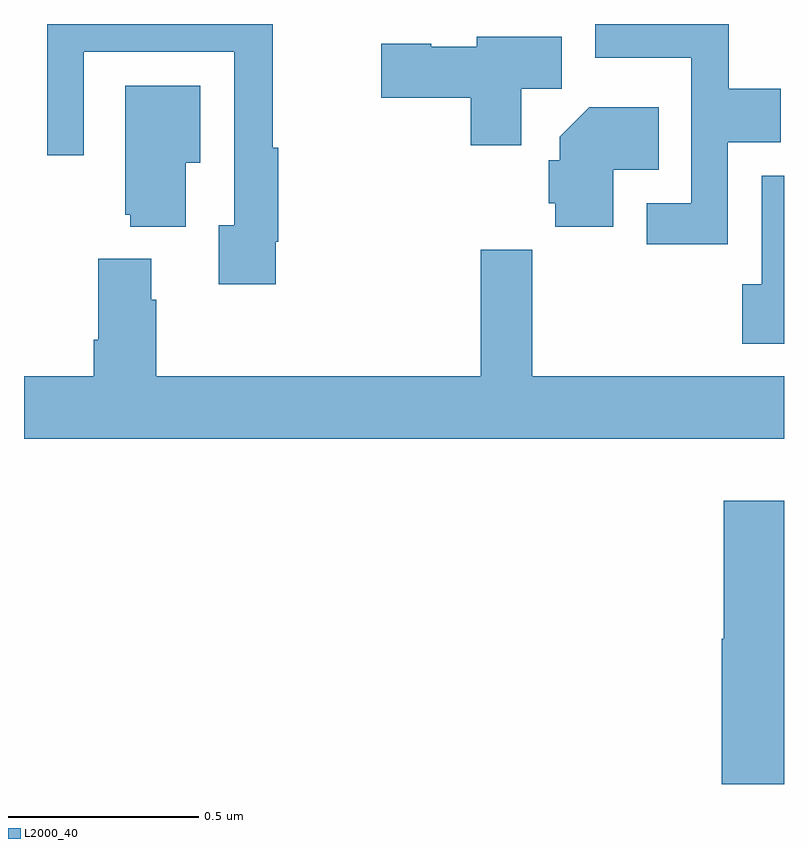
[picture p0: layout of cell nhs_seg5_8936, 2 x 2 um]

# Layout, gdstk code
import gdstk
lib = gdstk.Library(unit=1e-6, precision=1e-09)
def P(c, l, *ps):  # polygons
    for p in ps: c.add(gdstk.Polygon(p, *l))
L2000_40 = (2000, 40)

nhs_seg5_8936 = lib.new_cell('nhs_seg5_8936')
P(nhs_seg5_8936, L2000_40, [(228.852,909.488),(228.991,909.488),(228.991,909.628),(228.855,909.628),(228.855,909.799),(228.503,909.799),(228.503,909.71),(228.756,909.71),(228.756,909.327),(228.639,909.327),(228.639,909.219),(228.852,909.219)],
  [(227.662,909.226),(227.669,909.226),(227.669,909.473),(227.654,909.473),(227.654,909.799),(227.061,909.799),(227.061,909.453),(227.157,909.453),(227.157,909.726),(227.553,909.726),(227.553,909.27),(227.513,909.27),(227.513,909.114),(227.662,909.114)],
  [(228.309,909.628),(228.415,909.628),(228.415,909.766),(228.192,909.766),(228.192,909.739),(228.072,909.739),(228.072,909.747),(227.94,909.747),(227.94,909.605),(228.176,909.605),(228.176,909.48),(228.309,909.48)],
  [(227.425,909.434),(227.464,909.434),(227.464,909.637),(227.267,909.637),(227.267,909.297),(227.279,909.297),(227.279,909.266),(227.425,909.266)],
  [(228.55,909.416),(228.671,909.416),(228.671,909.58),(228.488,909.58),(228.41,909.502),(228.41,909.441),(228.381,909.441),(228.381,909.327),(228.398,909.327),(228.398,909.266),(228.55,909.266)],
  [(229,909.4),(228.941,909.4),(228.941,909.114),(228.89,909.114),(228.89,908.958),(229,908.958)],
  [(229,908.872),(228.338,908.872),(228.338,909.205),(228.202,909.205),(228.202,908.872),(227.348,908.872),(227.348,909.074),(227.335,909.074),(227.335,909.181),(227.195,909.181),(227.195,908.968),(227.183,908.968),(227.183,908.872),(227,908.872),(227,908.708),(229,908.708)],
  [(229,908.545),(228.842,908.545),(228.842,908.181),(228.836,908.181),(228.836,907.799),(229,907.799)])

lib.write_gds('nhs_seg5_8936.gds')
